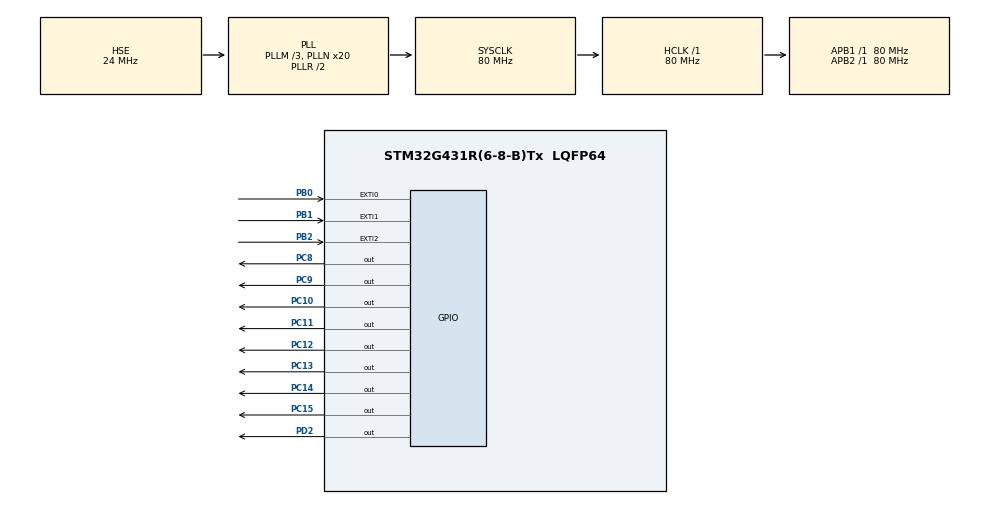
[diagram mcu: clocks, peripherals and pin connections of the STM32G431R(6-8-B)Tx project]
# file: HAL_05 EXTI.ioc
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Mcu.Family=STM32G4
Mcu.Name=STM32G431R(6-8-B)Tx
Mcu.Package=LQFP64
NVIC.EXTI0_IRQn=true\:0\:0\:false\:false\:true\:true\:true
NVIC.EXTI1_IRQn=true\:0\:0\:false\:false\:true\:true\:true
NVIC.EXTI2_IRQn=true\:0\:0\:false\:false\:true\:true\:true
NVIC.PriorityGroup=NVIC_PRIORITYGROUP_4
PB0.GPIO_PuPd=GPIO_PULLUP
PB0.Signal=GPXTI0
PB1.GPIO_ModeDefaultEXTI=GPIO_MODE_IT_RISING
PB1.GPIO_PuPd=GPIO_PULLUP
PB1.Signal=GPXTI1
PB2.GPIO_PuPd=GPIO_PULLUP
PB2.Signal=GPXTI2
PC10.PinState=GPIO_PIN_SET
PC10.Signal=GPIO_Output
PC11.PinState=GPIO_PIN_SET
PC11.Signal=GPIO_Output
PC12.PinState=GPIO_PIN_SET
PC12.Signal=GPIO_Output
PC13.PinState=GPIO_PIN_SET
PC13.Signal=GPIO_Output
PC14-OSC32_IN.PinState=GPIO_PIN_SET
PC14-OSC32_IN.Signal=GPIO_Output
PC15-OSC32_OUT.PinState=GPIO_PIN_SET
PC15-OSC32_OUT.Signal=GPIO_Output
PC8.PinState=GPIO_PIN_SET
PC8.Signal=GPIO_Output
PC9.PinState=GPIO_PIN_SET
PC9.Signal=GPIO_Output
PD2.PinState=GPIO_PIN_SET
PD2.Signal=GPIO_Output
PF0-OSC_IN.Mode=HSE-External-Oscillator
PF0-OSC_IN.Signal=RCC_OSC_IN
PF1-OSC_OUT.Mode=HSE-External-Oscillator
PF1-OSC_OUT.Signal=RCC_OSC_OUT
ProjectManager.HeapSize=0x200
ProjectManager.StackSize=0x400
ProjectManager.TargetToolchain=MDK-ARM V5.27
RCC.ADC12Freq_Value=80000000
RCC.AHBFreq_Value=80000000
RCC.APB1Freq_Value=80000000
RCC.APB1TimFreq_Value=80000000
RCC.APB2Freq_Value=80000000
RCC.APB2TimFreq_Value=80000000
RCC.CortexFreq_Value=80000000
RCC.EXTERNAL_CLOCK_VALUE=12288000
RCC.HCLKFreq_Value=80000000
RCC.HSE_VALUE=24000000
RCC.HSI48_VALUE=48000000
RCC.HSI_VALUE=16000000
RCC.LSE_VALUE=32768
RCC.PLLM=RCC_PLLM_DIV3
RCC.PLLN=20
RCC.PLLSourceVirtual=RCC_PLLSOURCE_HSE
RCC.SYSCLKFreq_VALUE=80000000
RCC.SYSCLKSource=RCC_SYSCLKSOURCE_PLLCLK
RCC.USBFreq_Value=80000000
RCC.VCOOutputFreq_Value=160000000
VP_SYS_VS_DBSignals.Mode=DisableDeadBatterySignals
board=custom

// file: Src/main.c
/* USER CODE BEGIN Header */
/**
  ******************************************************************************
  * @file           : main.c
  * @brief          : Main program body
  ******************************************************************************
  * @attention
  *
  * <h2><center>&copy; Copyright (c) 2024 STMicroelectronics.
  * All rights reserved.</center></h2>
  *
  * This software component is licensed by ST under BSD 3-Clause license,
  * the "License"; You may not use this file except in compliance with the
  * License. You may obtain a copy of the License at:
  *                        opensource.org/licenses/BSD-3-Clause
  *
  ******************************************************************************
  */
/* USER CODE END Header */

#include "main.h"
#include "gpio.h"

void SystemClock_Config(void);

/* USER CODE BEGIN 0 */
void HAL_GPIO_EXTI_Callback(uint16_t GPIO_Pin)
{
	switch(GPIO_Pin)
	{
		case GPIO_PIN_0:
		{
			HAL_GPIO_WritePin(GPIOC, GPIO_PIN_8, GPIO_PIN_RESET);
			HAL_GPIO_WritePin(GPIOD, GPIO_PIN_2, GPIO_PIN_SET);
			HAL_GPIO_WritePin(GPIOD, GPIO_PIN_2, GPIO_PIN_RESET);
		}
			break;
		case GPIO_PIN_1:
		{
			HAL_GPIO_WritePin(GPIOC, GPIO_PIN_10, GPIO_PIN_RESET);
			HAL_GPIO_WritePin(GPIOD, GPIO_PIN_2, GPIO_PIN_SET);
			HAL_GPIO_WritePin(GPIOD, GPIO_PIN_2, GPIO_PIN_RESET);
		}
			break;
		case GPIO_PIN_2:
		{
			HAL_GPIO_WritePin(GPIOC, GPIO_PIN_12, GPIO_PIN_RESET);
			HAL_GPIO_WritePin(GPIOD, GPIO_PIN_2, GPIO_PIN_SET);
			HAL_GPIO_WritePin(GPIOD, GPIO_PIN_2, GPIO_PIN_RESET);
		}
			break;
	}
}
/* USER CODE END 0 */

int main(void)
{

  /* MCU Configuration--------------------------------------------------------*/

  /* Reset of all peripherals, Initializes the Flash interface and the Systick. */
  HAL_Init();

  /* Configure the system clock */
  SystemClock_Config();

  /* Initialize all configured peripherals */
  MX_GPIO_Init();

  /* Infinite loop */
  while (1)
  {

  }
}

void SystemClock_Config(void)
{
  RCC_OscInitTypeDef RCC_OscInitStruct = {0};
  RCC_ClkInitTypeDef RCC_ClkInitStruct = {0};

  /** Configure the main internal regulator output voltage
  */
  HAL_PWREx_ControlVoltageScaling(PWR_REGULATOR_VOLTAGE_SCALE1);
  /** Initializes the CPU, AHB and APB busses clocks
  */
  RCC_OscInitStruct.OscillatorType = RCC_OSCILLATORTYPE_HSE;
  RCC_OscInitStruct.HSEState = RCC_HSE_ON;
  RCC_OscInitStruct.PLL.PLLState = RCC_PLL_ON;
  RCC_OscInitStruct.PLL.PLLSource = RCC_PLLSOURCE_HSE;
  RCC_OscInitStruct.PLL.PLLM = RCC_PLLM_DIV3;
  RCC_OscInitStruct.PLL.PLLN = 20;
  RCC_OscInitStruct.PLL.PLLP = RCC_PLLP_DIV2;
  RCC_OscInitStruct.PLL.PLLQ = RCC_PLLQ_DIV2;
  RCC_OscInitStruct.PLL.PLLR = RCC_PLLR_DIV2;
  if (HAL_RCC_OscConfig(&RCC_OscInitStruct) != HAL_OK)
  {
    Error_Handler();
  }
  /** Initializes the CPU, AHB and APB busses clocks
  */
  RCC_ClkInitStruct.ClockType = RCC_CLOCKTYPE_HCLK|RCC_CLOCKTYPE_SYSCLK
                              |RCC_CLOCKTYPE_PCLK1|RCC_CLOCKTYPE_PCLK2;
  RCC_ClkInitStruct.SYSCLKSource = RCC_SYSCLKSOURCE_PLLCLK;
  RCC_ClkInitStruct.AHBCLKDivider = RCC_SYSCLK_DIV1;
  RCC_ClkInitStruct.APB1CLKDivider = RCC_HCLK_DIV1;
  RCC_ClkInitStruct.APB2CLKDivider = RCC_HCLK_DIV1;

  if (HAL_RCC_ClockConfig(&RCC_ClkInitStruct, FLASH_LATENCY_3) != HAL_OK)
  {
    Error_Handler();
  }
}

void Error_Handler(void)
{
}

/************************ (C) COPYRIGHT STMicroelectronics *****END OF FILE****/
